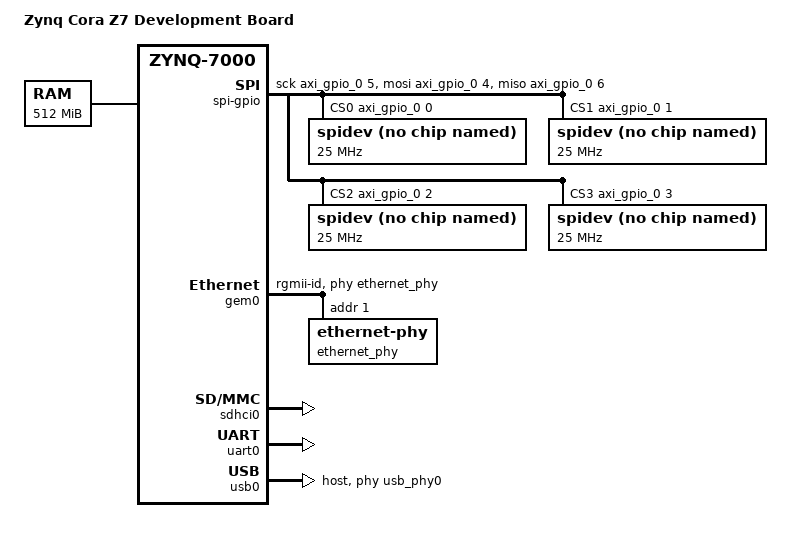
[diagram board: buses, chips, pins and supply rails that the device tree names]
/include/ "system-conf.dtsi"

/ {
   model = "Zynq Cora Z7 Development Board";
   compatible = "digilent,zynq-coraz7", "xlnx,zynq-7000";

   aliases {
      ethernet0 = &gem0;
      serial0 = &uart0;
      mmc0 = &sdhci0;
   };

   memory@0 {
      device_type = "memory";
      reg = <0x0 0x20000000>;
   };

   chosen {
      bootargs = "console=ttyPS0,115200 root=/dev/mmcblk0p2 rw rootwait earlyprintk uio_pdrv_genirq.of_id=generic-uio";
      stdout-path = "serial0:115200n8";
   };

   usb_phy0: phy0@e0002000 {
      compatible = "ulpi-phy";
      #phy-cells = <0>;
      reg = <0xe0002000 0x1000>;
      view-port = <0x0170>;
      drv-vbus;
   };


   spi-gpio {
      compatible = "spi-gpio";
      #address-cells = <0x1>;
      ranges;
   
      cs-gpios = <&axi_gpio_0 0 0>, <&axi_gpio_0 1 0>, <&axi_gpio_0 2 0>, <&axi_gpio_0 3 0>;
      mosi-gpios = <&axi_gpio_0 4 0>;
      sck-gpios = <&axi_gpio_0 5 0>;
      miso-gpios = <&axi_gpio_0 6 0>;
      num-chipselects = <4>;
   
      spidev@0 {
         reg = <0>;
         compatible = "rohm,dh2228fv"; 
         spi-max-frequency = <25000000>;
      };
      spidev@1 {
         reg = <1>;
         compatible = "rohm,dh2228fv"; 
         spi-max-frequency = <25000000>;
      };
      spidev@2 {
         reg = <2>;
         compatible = "rohm,dh2228fv"; 
         spi-max-frequency = <25000000>;
      };
      spidev@3 {
         reg = <3>;
         compatible = "rohm,dh2228fv"; 
         spi-max-frequency = <25000000>;
      };
   };
};

&clkc {
   ps-clk-frequency = <50000000>;
};

&gem0 {
   status = "okay";
   phy-mode = "rgmii-id";
   phy-handle = <&ethernet_phy>;

   ethernet_phy: ethernet-phy@0 { /* rtl8211e-vl */
      reg = <1>;
      device_type = "ethernet-phy";
   };
};

&sdhci0 {
   u-boot,dm-pre-reloc;
   status = "okay";
};

&uart0 {
   u-boot,dm-pre-reloc;
   status = "okay";
};

&uart1 {
   u-boot,dm-pre-reloc;
};

&usb0 {
   status = "okay";
   dr_mode = "host";
   usb-phy = <&usb_phy0>;
};
